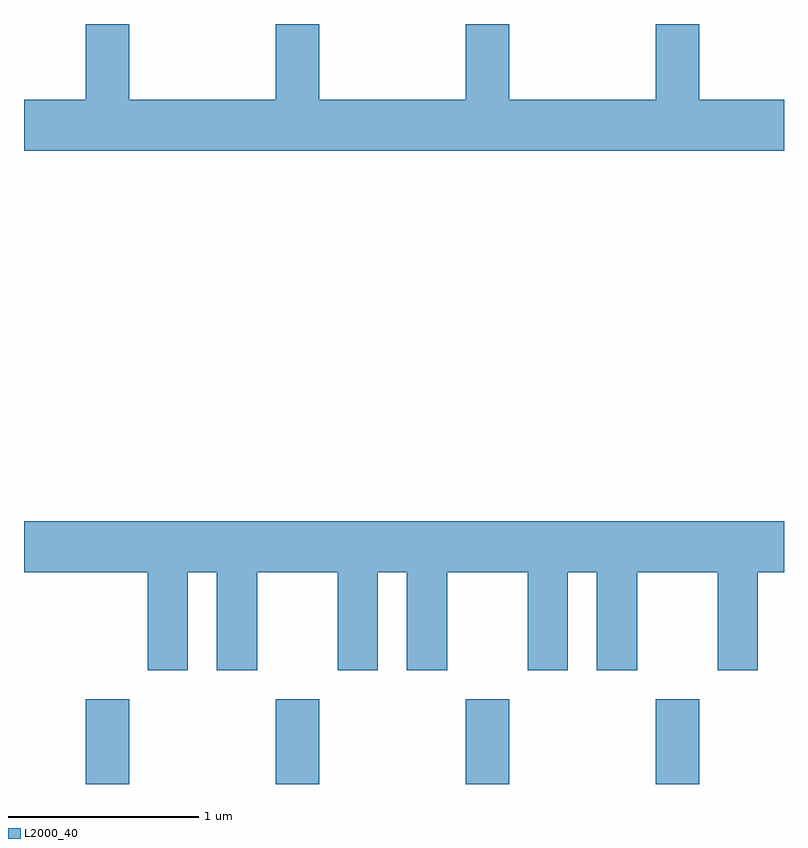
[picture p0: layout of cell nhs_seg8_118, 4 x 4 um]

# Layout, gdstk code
import gdstk
lib = gdstk.Library(unit=1e-6, precision=1e-09)
def R(c, l, rs):  # rectangles x0, y0, x1, y1
    for r in rs: c.add(gdstk.rectangle(r[:2], r[2:], *l))
def A(c, l, x, y, w, h, nx, ny, dx, dy):  # array of equal rectangles
    R(c, l, [(x+i*dx, y+j*dy, x+i*dx+w, y+j*dy+h) for i in range(nx) for j in range(ny)])
def P(c, l, *ps):  # polygons
    for p in ps: c.add(gdstk.Polygon(p, *l))
L2000_40 = (2000, 40)

nhs_seg8_118 = lib.new_cell('nhs_seg8_118')
A(nhs_seg8_118, L2000_40, 187.936, 1906.342, 0.228, 0.447, 4, 1, 1, 0)
P(nhs_seg8_118, L2000_40, [(191.611,1909.944),(191.164,1909.944),(191.164,1910.342),(190.936,1910.342),(190.936,1909.944),(190.164,1909.944),(190.164,1910.342),(189.936,1910.342),(189.936,1909.944),(189.164,1909.944),(189.164,1910.342),(188.936,1910.342),(188.936,1909.944),(188.164,1909.944),(188.164,1910.342),(187.936,1910.342),(187.936,1909.944),(187.611,1909.944),(187.611,1909.676),(191.611,1909.676)],
  [(188.474,1907.456),(188.626,1907.456),(188.626,1906.941),(188.839,1906.941),(188.839,1907.456),(189.261,1907.456),(189.261,1906.941),(189.474,1906.941),(189.474,1907.456),(189.626,1907.456),(189.626,1906.941),(189.839,1906.941),(189.839,1907.456),(190.261,1907.456),(190.261,1906.941),(190.474,1906.941),(190.474,1907.456),(190.626,1907.456),(190.626,1906.941),(190.839,1906.941),(190.839,1907.456),(191.261,1907.456),(191.261,1906.941),(191.474,1906.941),(191.474,1907.456),(191.611,1907.456),(191.611,1907.724),(187.611,1907.724),(187.611,1907.456),(188.261,1907.456),(188.261,1906.941),(188.474,1906.941)])

lib.write_gds('nhs_seg8_118.gds')
